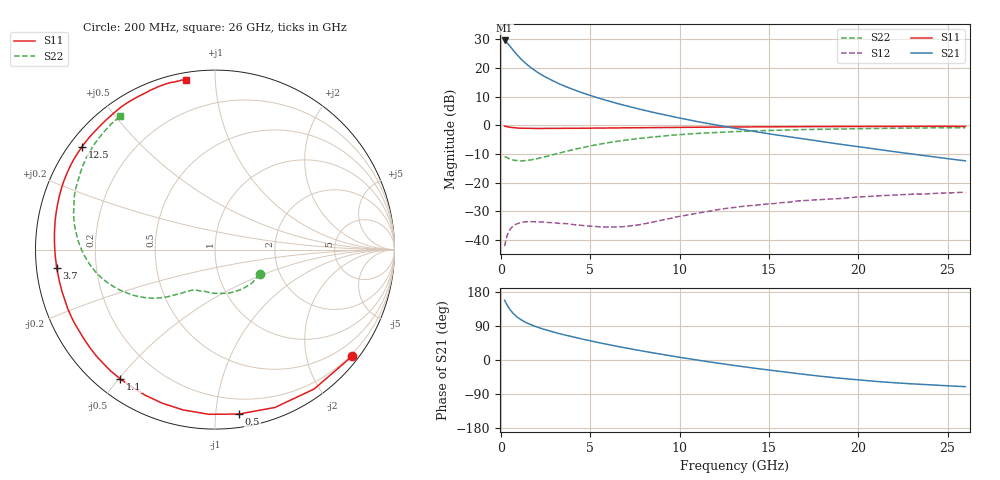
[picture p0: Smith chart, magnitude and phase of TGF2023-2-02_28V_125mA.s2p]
!Data measured by Modelithics Inc.  support@modelithics.com  813-866-6335  Tampa FL USA
!  2-Port S-parameters saved by WinCal
! VAR MeasName=S-Parameters (CALIBRATED_DATA) read from VNA (N5247A)
! VAR MeasDate=6/27/2013 3:18:33 PM
! VAR NAME=Measurement 4
! VAR FILENAME=2p5mm_task1_28p1Vds_m2p77Vgs_127mA_25C_S8.s2p
! VAR DATE=6/27/2013 3:18:33 PM
! VAR PHYS_PORTS=1,2
# Hz S RI R 50
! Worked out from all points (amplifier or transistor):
!   259 points, 200 MHz to 26 GHz, reference 50 ohm
!   highest |S21| = 29.6 dB at 200 MHz (marker M1)
!   |S21| within 3 dB of that: start of sweep to 625.8 MHz
!   unconditionally stable (mu >= 1): 4.552 GHz to 9.745 GHz
!   at 4.5 GHz: K = 0.99, MSG = 23.2 dB, |S12| = -34.9 dB
!   at 13.1 GHz: K = 0.64, MSG = 13.8 dB, |S12| = -28.6 dB
!   at 26 GHz: K = 0.23, MSG = 5.5 dB, |S12| = -23.4 dB
!   S11 on the Smith chart (normalised r, x): 200 MHz: 0.15, -2.91; 500 MHz: 0.09, -1.15; 1.1 GHz: 0.07, -0.50; 3.7 GHz: 0.06, -0.06; 12.5 GHz: 0.04, +0.34; 26 GHz: 0.04, +0.84
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2e8  0.7643 -0.5939  -27.99 11.58  0.00277 0.0073  0.2494 -0.1376
3e8  0.5524 -0.7767  -24.17 14.82  0.00529 0.00952  0.2041 -0.1884
4e8  0.3344 -0.8793  -20.14 16.76  0.00793 0.0107  0.152 -0.2194
5e8  0.1354 -0.916  -16.44 17.44  0.0102 0.0112  0.1094 -0.2349
6e8  -0.0339 -0.9177  -13.29 17.45  0.0123 0.0113  0.0704 -0.2435
7e8  -0.1789 -0.893  -10.65 17.03  0.0139 0.011  0.0364 -0.2439
8e8  -0.2948 -0.8556  -8.54 16.37  0.0153 0.0106  0.0108 -0.2441
9e8  -0.3893 -0.811  -6.77 15.61  0.0163 0.0101  -0.0123 -0.2429
1.1e9  -0.5292 -0.7194  -4.231 13.95  0.0178 0.0092  -0.0468 -0.2353
1.3e9  -0.625 -0.6319  -2.5 12.45  0.0189 0.00825  -0.0733 -0.2309
1.5e9  -0.6912 -0.5542  -1.308 11.15  0.0196 0.00742  -0.093 -0.2283
2e9  -0.7865 -0.4024  0.3927 8.607  0.0199 0.00597  -0.1309 -0.2266
2.8e9  -0.8529 -0.2326  1.552 6.012  0.0195 0.00493  -0.1819 -0.2415
3.7e9  -0.8822 -0.1021  1.992 4.195  0.0186 0.00484  -0.2441 -0.2573
4.5e9  -0.8919 -0.012  2.113 3.098  0.0172 0.0054  -0.3051 -0.2688
6.3e9  -0.8916 0.1471  1.981 1.542  0.0144 0.0088  -0.4491 -0.2558
8.8e9  -0.8592 0.3297  1.546 0.4586  0.0132 0.017  -0.6201 -0.1675
1.25e10  -0.7403 0.5744  0.9407 -0.1779  0.0219 0.0277  -0.7624 0.0477
1.31e10  -0.7117 0.6111  0.8605 -0.2256  0.024 0.0282  -0.7727 0.0861
1.74e10  -0.4761 0.8256  0.4227 -0.3583  0.0405 0.0288  -0.7722 0.3542
2.17e10  -0.2626 0.9265  0.1849 -0.3079  0.0557 0.0229  -0.6791 0.5756
2.6e10  -0.1596 0.9451  0.0815 -0.2267  0.0665 0.0138  -0.528 0.7429
